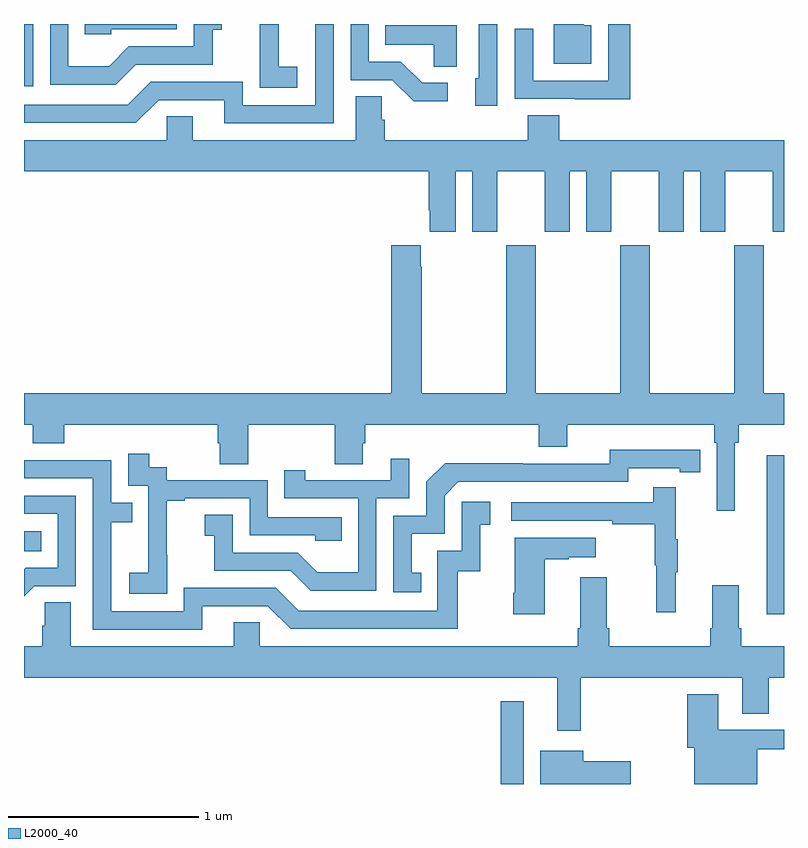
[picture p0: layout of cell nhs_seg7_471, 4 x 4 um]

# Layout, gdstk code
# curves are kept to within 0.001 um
import gdstk
lib = gdstk.Library(unit=1e-6, precision=1e-09)
def R(c, l, rs):  # rectangles x0, y0, x1, y1
    for r in rs: c.add(gdstk.rectangle(r[:2], r[2:], *l))
def P(c, l, *ps):  # polygons
    for p in ps: c.add(gdstk.Polygon(p, *l))
L2000_40 = (2000, 40)

nhs_seg7_471 = lib.new_cell('nhs_seg7_471')
R(nhs_seg7_471, L2000_40, [(149.508,1056,149.629,1056.436), (150.908,1056.894,151,1057.729), (147,1057.226,147.092,1057.33), (147,1059.672,147.048,1060)])
P(nhs_seg7_471, L2000_40, [(149.49,1060),(149.394,1060),(149.394,1059.714),(149.375,1059.714),(149.375,1059.57),(149.49,1059.57)],
  [(150.191,1060),(150.075,1060),(150.075,1059.702),(149.679,1059.702),(149.679,1059.976),(149.583,1059.976),(149.583,1059.606),(149.899,1059.606),(149.899,1059.605),(150.191,1059.605)],
  [(147.459,1059.972),(147.804,1059.972),(147.804,1060),(147.319,1060),(147.319,1059.945),(147.459,1059.945)],
  [(148.438,1059.775),(148.34,1059.775),(148.34,1060),(148.241,1060),(148.241,1059.871),(148.24,1059.871),(148.24,1059.665),(148.438,1059.665)],
  [(149.986,1059.994),(149.947,1059.994),(149.947,1060),(149.789,1060),(149.789,1059.791),(149.986,1059.791)],
  [(147.589,1059.786),(147.993,1059.786),(147.993,1059.971),(148.042,1059.971),(148.042,1060),(147.894,1060),(147.894,1059.882),(147.552,1059.882),(147.448,1059.778),(147.234,1059.778),(147.234,1060),(147.138,1060),(147.138,1059.681),(147.484,1059.681)],
  [(149.23,1059.69),(149.095,1059.69),(148.984,1059.801),(148.815,1059.801),(148.815,1060),(148.719,1060),(148.719,1059.705),(148.938,1059.705),(149.051,1059.593),(149.23,1059.593)],
  [(148.629,1060),(148.533,1060),(148.533,1059.573),(148.152,1059.573),(148.152,1059.696),(147.666,1059.696),(147.546,1059.576),(147,1059.576),(147,1059.48),(147.588,1059.48),(147.708,1059.6),(148.055,1059.6),(148.055,1059.477),(148.629,1059.477)],
  [(149.278,1059.994),(148.9,1059.994),(148.9,1059.89),(149.157,1059.89),(149.157,1059.775),(149.278,1059.775)],
  [(149.272,1059.224),(149.36,1059.224),(149.36,1058.907),(149.491,1058.907),(149.491,1059.224),(149.741,1059.224),(149.741,1058.907),(149.872,1058.907),(149.872,1059.224),(149.96,1059.224),(149.96,1058.907),(150.091,1058.907),(150.091,1059.224),(150.341,1059.224),(150.341,1058.907),(150.472,1058.907),(150.472,1059.224),(150.56,1059.224),(150.56,1058.907),(150.691,1058.907),(150.691,1059.224),(150.941,1059.224),(150.941,1058.907),(151,1058.907),(151,1059.388),(149.816,1059.388),(149.816,1059.521),(149.651,1059.521),(149.651,1059.388),(148.898,1059.388),(148.898,1059.497),(148.884,1059.497),(148.884,1059.62),(148.745,1059.62),(148.745,1059.388),(147.889,1059.388),(147.889,1059.515),(147.75,1059.515),(147.75,1059.388),(147,1059.388),(147,1059.224),(149.129,1059.224),(149.129,1059.019),(149.135,1059.019),(149.135,1058.907),(149.272,1058.907)],
  [(150.742,1057.796),(150.761,1057.796),(150.761,1057.892),(151,1057.892),(151,1058.056),(150.894,1058.056),(150.894,1058.836),(150.739,1058.836),(150.739,1058.056),(150.294,1058.056),(150.294,1058.836),(150.139,1058.836),(150.139,1058.056),(149.694,1058.056),(149.694,1058.836),(149.539,1058.836),(149.539,1058.056),(149.094,1058.056),(149.094,1058.723),(149.089,1058.723),(149.089,1058.836),(148.934,1058.836),(148.934,1058.056),(147,1058.056),(147,1057.892),(147.047,1057.892),(147.047,1057.793),(147.212,1057.793),(147.212,1057.892),(148.019,1057.892),(148.019,1057.794),(148.031,1057.794),(148.031,1057.684),(148.179,1057.684),(148.179,1057.892),(148.636,1057.892),(148.636,1057.684),(148.783,1057.684),(148.783,1057.794),(148.796,1057.794),(148.796,1057.892),(149.708,1057.892),(149.708,1057.775),(149.86,1057.775),(149.86,1057.892),(150.632,1057.892),(150.632,1057.796),(150.645,1057.796),(150.645,1057.437),(150.742,1057.437)],
  [(149.09,1057.113),(149.041,1057.113),(149.041,1057.317),(149.214,1057.317),(149.214,1057.518),(149.286,1057.59),(150.18,1057.59),(150.18,1057.662),(150.452,1057.662),(150.452,1057.642),(150.56,1057.642),(150.56,1057.758),(150.084,1057.759),(150.084,1057.686),(149.624,1057.686),(149.624,1057.688),(149.216,1057.688),(149.118,1057.59),(149.118,1057.413),(148.944,1057.413),(148.944,1057.008),(149.09,1057.008)],
  [(147.753,1057.207),(147.752,1057.207),(147.752,1057.491),(147.847,1057.491),(147.847,1057.503),(148.188,1057.503),(148.188,1057.308),(148.533,1057.308),(148.533,1057.281),(148.673,1057.281),(148.673,1057.404),(148.284,1057.404),(148.284,1057.599),(147.75,1057.599),(147.75,1057.668),(147.658,1057.668),(147.658,1057.738),(147.549,1057.738),(147.549,1057.569),(147.654,1057.569),(147.654,1057.34),(147.653,1057.34),(147.653,1057.111),(147.555,1057.111),(147.555,1057.001),(147.753,1057.001)],
  [(148.854,1057.503),(149.028,1057.503),(149.028,1057.711),(148.931,1057.711),(148.931,1057.599),(148.48,1057.599),(148.48,1057.651),(148.369,1057.651),(148.369,1057.503),(148.758,1057.503),(148.758,1057.114),(148.544,1057.114),(148.44,1057.218),(148.098,1057.218),(148.098,1057.417),(147.951,1057.417),(147.951,1057.307),(148,1057.307),(148,1057.122),(148.403,1057.122),(148.508,1057.017),(148.854,1057.017)],
  [(147.937,1056.936),(148.284,1056.936),(148.404,1056.816),(149.284,1056.816),(149.284,1057.119),(149.402,1057.119),(149.402,1057.365),(149.455,1057.365),(149.455,1057.486),(149.304,1057.486),(149.304,1057.227),(149.175,1057.227),(149.175,1056.912),(148.446,1056.912),(148.326,1057.032),(147.84,1057.032),(147.84,1056.909),(147.459,1056.909),(147.459,1057.378),(147.569,1057.378),(147.569,1057.479),(147.459,1057.479),(147.459,1057.704),(147,1057.704),(147,1057.608),(147.363,1057.608),(147.363,1056.813),(147.937,1056.813)],
  [(150.431,1057.115),(150.442,1057.115),(150.442,1057.289),(150.431,1057.289),(150.431,1057.561),(150.313,1057.561),(150.313,1057.482),(149.565,1057.482),(149.565,1057.386),(150.097,1057.386),(150.097,1057.366),(150.321,1057.366),(150.321,1057.152),(150.328,1057.152),(150.328,1056.903),(150.431,1056.903)],
  [(147.054,1057.041),(147.273,1057.041),(147.273,1057.518),(147,1057.518),(147,1057.422),(147.177,1057.422),(147.177,1057.137),(147.008,1057.137),(147,1057.129),(147,1056.987)],
  [(149.74,1057.183),(149.867,1057.183),(149.867,1057.193),(150.01,1057.193),(150.01,1057.297),(149.582,1057.297),(149.582,1057.006),(149.575,1057.006),(149.575,1056.894),(149.74,1056.894)],
  [(149.929,1056.56),(150.779,1056.56),(150.779,1056.37),(150.919,1056.37),(150.919,1056.56),(151,1056.56),(151,1056.724),(150.776,1056.724),(150.776,1056.82),(150.763,1056.82),(150.763,1057.045),(150.623,1057.045),(150.623,1056.82),(150.611,1056.82),(150.611,1056.724),(150.08,1056.724),(150.08,1056.82),(150.067,1056.82),(150.067,1057.087),(149.927,1057.087),(149.927,1056.82),(149.915,1056.82),(149.915,1056.724),(148.242,1056.724),(148.242,1056.851),(148.103,1056.851),(148.103,1056.724),(147.247,1056.724),(147.247,1056.956),(147.108,1056.956),(147.108,1056.833),(147.095,1056.833),(147.095,1056.724),(147,1056.724),(147,1056.56),(149.807,1056.56),(149.807,1056.279),(149.929,1056.279)],
  [(150.859,1056.184),(151,1056.184),(151,1056.285),(150.655,1056.285),(150.655,1056.472),(150.491,1056.472),(150.491,1056.192),(150.527,1056.192),(150.527,1056),(150.859,1056)],
  [(150.193,1056.12),(149.944,1056.12),(149.944,1056.175),(149.717,1056.175),(149.717,1056),(150.193,1056)])

lib.write_gds('nhs_seg7_471.gds')
